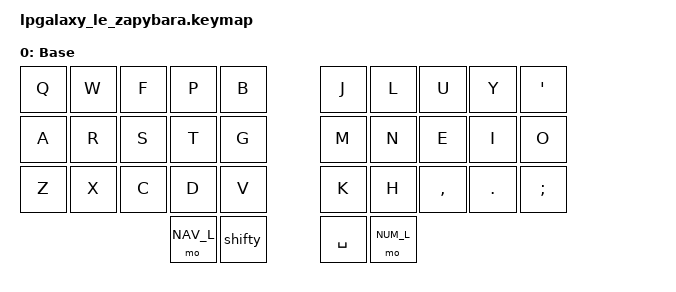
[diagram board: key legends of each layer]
/*
 * Copyright (c) 2020 The ZMK Contributors
 *
 * SPDX-License-Identifier: MIT
 */

#include <behaviors.dtsi>
#include <dt-bindings/zmk/keys.h>

/ {
        keymap {
                compatible = "zmk,keymap";
                colemak_dhm_layer {
                    label = "Base";
                    bindings = <
       &kp Q      &kp W      &kp F       &kp P          &kp B         &kp J            &kp L          &kp U       &kp Y      &kp QUOT
       &kp A      &kp R      &kp S       &kp T          &kp G         &kp M            &kp N          &kp E       &kp I      &kp O   
       &kp Z      &kp X      &kp C       &kp D          &kp V         &kp K            &kp H          &kp COMMA   &kp DOT    &kp SEMI     
                                         &mo NAV_L      &shifty      &kp SPACE        &mo NUM_L
                    >;
                };
        };
};
